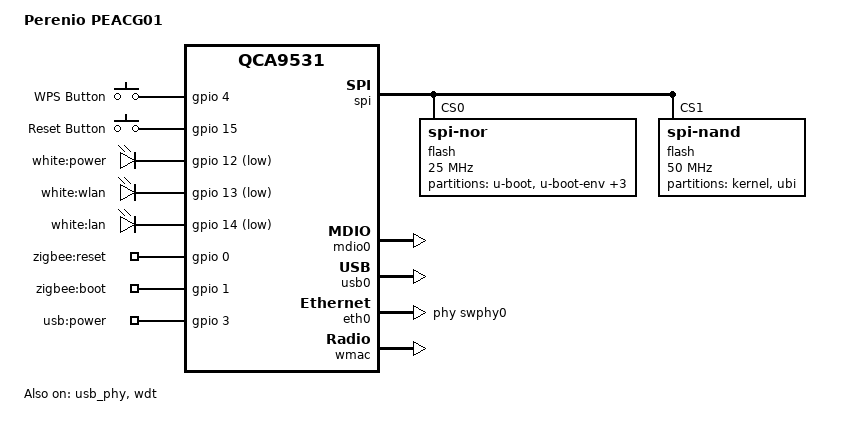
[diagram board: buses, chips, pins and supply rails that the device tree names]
#include "qca953x.dtsi"

#include <dt-bindings/gpio/gpio.h>
#include <dt-bindings/input/input.h>

/ {
	compatible = "perenio,peacg01", "qca,qca9531";
	model = "Perenio PEACG01";

	aliases {
		label-mac-device = &eth0;
		led-boot = &led_power;
		led-failsafe = &led_power;
		led-running = &led_power;
		led-upgrade = &led_power;
	};

	keys {
		compatible = "gpio-keys";

		button_wps {
			label = "WPS Button";
			linux,code = <KEY_WPS_BUTTON>;
			gpios = <&gpio 4 GPIO_ACTIVE_HIGH>;
			debounce-interval = <60>;
		};

		button_reset {
			label = "Reset Button";
			linux,code = <KEY_RESTART>;
			gpios = <&gpio 15 GPIO_ACTIVE_HIGH>;
			debounce-interval = <60>;
		};
	};

	leds {
		compatible = "gpio-leds";

		led_power: power {
			label = "white:power";
			gpios = <&gpio 12 GPIO_ACTIVE_LOW>;
		};

		led_wlan: wlan {
			label = "white:wlan";
			gpios = <&gpio 13 GPIO_ACTIVE_LOW>;
		};

		led_lan: lan {
			label = "white:lan";
			gpios = <&gpio 14 GPIO_ACTIVE_LOW>;
		};
	};

	gpio-export {
		compatible = "gpio-export";

		zigbee_reset {
			gpio-export,name = "zigbee:reset";
			gpio-export,output = <1>;
			gpios = <&gpio 0 GPIO_ACTIVE_HIGH>;
		};

		zigbee_boot {
			gpio-export,name = "zigbee:boot";
			gpio-export,output = <1>;
			gpios = <&gpio 1 GPIO_ACTIVE_HIGH>;
		};

		usb_power {
			gpio-export,name = "usb:power";
			gpio-export,output = <1>;
			gpios = <&gpio 3 GPIO_ACTIVE_HIGH>;
		};
	};
};

&spi {
	status = "okay";

	flash@0 {
		compatible = "jedec,spi-nor";
		reg = <0>;
		spi-max-frequency = <25000000>;

		partitions {
			compatible = "fixed-partitions";
			#address-cells = <1>;
			#size-cells = <1>;

			partition@0 {
				label = "u-boot";
				reg = <0x000000 0x040000>;
				read-only;
			};

			partition@40000 {
				label = "u-boot-env";
				reg = <0x040000 0x010000>;
			};

			partition@50000 {
				label = "u-boot-env-bak";
				reg = <0x050000 0x010000>;
				read-only;
			};

			partition@60000 {
				label = "reserved";
				reg = <0x060000 0x010000>;
				read-only;
			};

			art: partition@70000 {
				label = "art";
				reg = <0x070000 0x010000>;
				read-only;
			};
		};
	};

	flash@1 {
		compatible = "spi-nand";
		reg = <1>;
		spi-max-frequency = <50000000>;

		partitions {
			compatible = "fixed-partitions";
			#address-cells = <1>;
			#size-cells = <1>;

			partition@0 {
				label = "kernel";
				reg = <0x000000 0x400000>;
			};

			partition@400000 {
				label = "ubi";
				reg = <0x400000 0x7C00000>;
			};
		};
	};
};

&mdio0 {
	status = "okay";
};

&usb0 {
	status = "okay";
};

&usb_phy {
	status = "okay";
};

&wdt {
	status = "okay";
};

&eth0 {
	status = "okay";
	phy-handle = <&swphy0>;
	nvmem-cells = <&macaddr_art_0>;
	nvmem-cell-names = "mac-address";

	gmac-config {
		device = <&gmac>;

		switch-phy-addr-swap = <1>;
		switch-phy-swap = <1>;
	};
};

&wmac {
	status = "okay";
	nvmem-cells = <&macaddr_art_0>;
	nvmem-cell-names = "mac-address";
	mac-address-increment = <(-1)>;
	mtd-cal-data = <&art 0x1000>;
};

&art {
	compatible = "nvmem-cells";
	#address-cells = <1>;
	#size-cells = <1>;

	macaddr_art_0: macaddr@0 {
		reg = <0x00 0x06>;
	};
};
